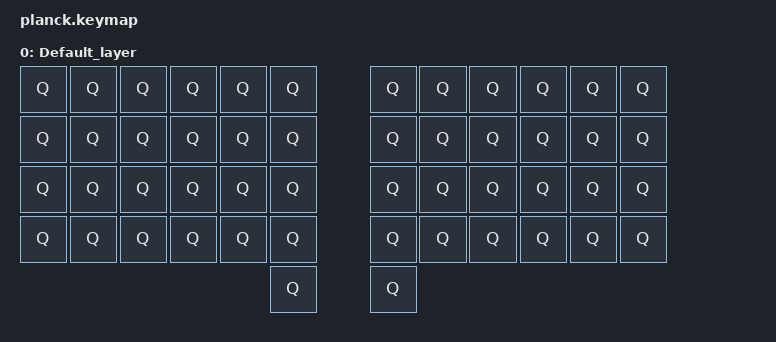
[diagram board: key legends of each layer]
/*
* Copyright (c) 2021 The ZMK Contributors
*
* SPDX-License-Identifier: MIT
*/

#include <behaviors.dtsi>
#include <dt-bindings/zmk/keys.h>

#define Default_layer 0


/ {

    keymap {
        compatible = "zmk,keymap";

        Default_layer {
            bindings = <
&kp Q &kp Q &kp Q &kp Q &kp Q &kp Q &kp Q &kp Q &kp Q &kp Q &kp Q &kp Q  
&kp Q &kp Q &kp Q &kp Q &kp Q &kp Q &kp Q &kp Q &kp Q &kp Q &kp Q &kp Q  
&kp Q &kp Q &kp Q &kp Q &kp Q &kp Q &kp Q &kp Q &kp Q &kp Q &kp Q &kp Q  
&kp Q &kp Q &kp Q &kp Q &kp Q &kp Q &kp Q &kp Q &kp Q &kp Q &kp Q &kp Q  
&kp Q &kp Q
            >;
        };


    };
};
